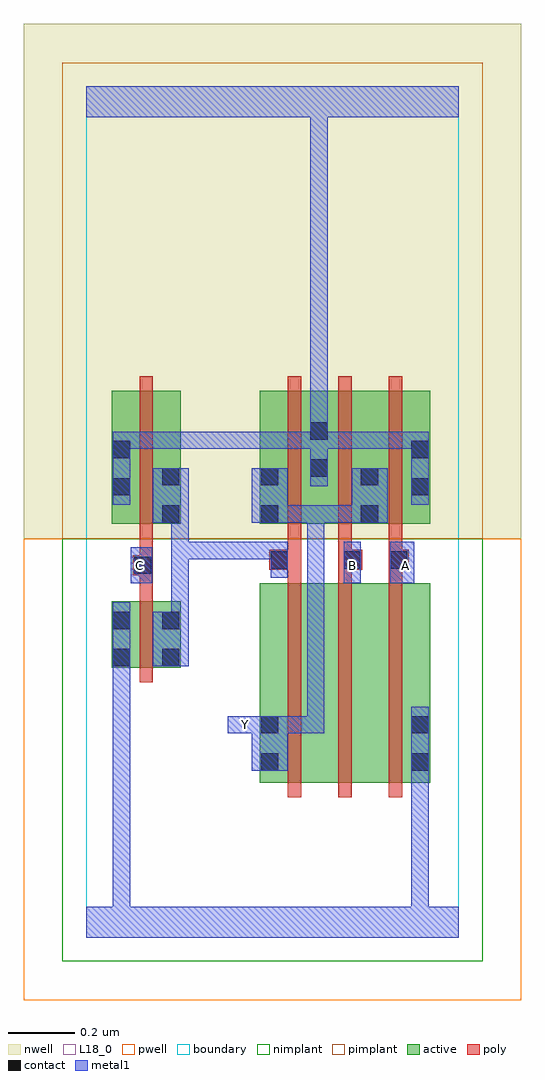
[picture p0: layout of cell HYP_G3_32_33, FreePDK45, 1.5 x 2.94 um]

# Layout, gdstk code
import gdstk
lib = gdstk.Library(unit=1e-6, precision=1e-09)
def R(c, l, rs):  # rectangles x0, y0, x1, y1
    for r in rs: c.add(gdstk.rectangle(r[:2], r[2:], *l))
def A(c, l, x, y, w, h, nx, ny, dx, dy):  # array of equal rectangles
    R(c, l, [(x+i*dx, y+j*dy, x+i*dx+w, y+j*dy+h) for i in range(nx) for j in range(ny)])
active = (1, 0)
pwell = (2, 0)
nwell = (3, 0)
nimplant = (4, 0)
pimplant = (5, 0)
poly = (9, 0)
contact = (10, 0)
metal1 = (11, 0)
L18_0 = (18, 0)
boundary = (235, 0)

hyp_g3_32_33 = lib.new_cell('HYP_G3_32_33')
A(hyp_g3_32_33, active, 0.67, 1.244, 0.06, 0.4, 3, 1, 0.152, 0)
R(hyp_g3_32_33, active, [(0.522,0.466,0.582,1.066), (0.522,0.466,0.702,1.066), (0.702,0.466,0.854,1.066), (0.854,0.466,1.034,1.066), (0.974,0.466,1.034,1.066), (0.076,0.812,0.136,1.012), (0.076,0.812,0.284,1.012), (0.224,0.812,0.284,1.012), (0.076,1.244,0.136,1.644), (0.076,1.244,0.284,1.644), (0.224,1.244,0.284,1.644), (0.522,1.244,0.582,1.644), (0.522,1.244,0.73,1.644), (0.67,1.244,0.882,1.644), (0.822,1.244,1.034,1.644)])
R(hyp_g3_32_33, pwell, [(-0.188,-0.188,1.308,1.2)])
R(hyp_g3_32_33, nwell, [(-0.188,1.2,1.308,2.748)])
R(hyp_g3_32_33, nimplant, [(-0.072,-0.072,1.192,1.2)])
R(hyp_g3_32_33, pimplant, [(-0.072,1.2,1.192,2.632)])
A(hyp_g3_32_33, poly, 0.606, 0.422, 0.04, 0.688, 3, 1, 0.152, 0)
A(hyp_g3_32_33, poly, 0.606, 1.07, 0.04, 0.076, 3, 1, 0.152, 0)
A(hyp_g3_32_33, poly, 0.606, 1.126, 0.04, 0.114, 3, 1, 0.152, 0)
A(hyp_g3_32_33, poly, 0.606, 1.2, 0.04, 0.488, 3, 1, 0.152, 0)
R(hyp_g3_32_33, poly, [(0.16,0.768,0.2,1.056), (0.16,1.016,0.2,1.13), (0.14,1.09,0.2,1.15), (0.55,1.106,0.646,1.166), (0.606,1.106,0.646,1.146), (0.606,1.106,0.646,1.146), (0.758,1.106,0.83,1.166), (0.91,1.106,0.97,1.166), (0.16,1.11,0.2,1.15), (0.16,1.11,0.2,1.15), (0.16,1.11,0.2,1.24), (0.758,1.126,0.798,1.166), (0.758,1.126,0.798,1.166), (0.91,1.126,0.95,1.166), (0.91,1.126,0.95,1.166), (0.16,1.2,0.2,1.688)])
R(hyp_g3_32_33, contact, [(0.526,0.502,0.578,0.554), (0.978,0.502,1.03,0.554), (0.526,0.614,0.578,0.666), (0.978,0.614,1.03,0.666), (0.08,0.816,0.132,0.868), (0.228,0.816,0.28,0.868), (0.08,0.928,0.132,0.98), (0.228,0.928,0.28,0.98), (0.144,1.094,0.196,1.146), (0.554,1.11,0.606,1.162), (0.774,1.11,0.826,1.162), (0.914,1.11,0.966,1.162), (0.228,1.248,0.28,1.3), (0.526,1.248,0.578,1.3), (0.826,1.248,0.878,1.3), (0.08,1.33,0.132,1.382), (0.978,1.33,1.03,1.382), (0.228,1.36,0.28,1.412), (0.526,1.36,0.578,1.412), (0.826,1.36,0.878,1.412), (0.674,1.386,0.726,1.438), (0.08,1.442,0.132,1.494), (0.978,1.442,1.03,1.494), (0.674,1.498,0.726,1.55)])
R(hyp_g3_32_33, metal1, [(0,0,1.12,0.092), (0.08,0.04,0.132,0.092), (0.08,0.04,0.132,0.092), (0.08,0.04,0.132,0.84), (0.978,0.04,1.03,0.092), (0.978,0.04,1.03,0.092), (0.978,0.04,1.03,0.092), (0.978,0.04,1.03,0.092), (0.978,0.04,1.03,0.526), (0.978,0.474,1.03,0.526), (0.978,0.474,1.03,0.526), (0.978,0.474,1.03,0.526), (0.978,0.474,1.03,0.526), (0.978,0.474,1.03,0.694), (0.498,0.502,0.606,0.666), (0.426,0.614,0.55,0.666), (0.498,0.614,0.55,0.666), (0.498,0.614,0.55,0.666), (0.498,0.614,0.55,0.666), (0.498,0.614,0.716,0.666), (0.664,0.614,0.716,0.666), (0.664,0.614,0.716,0.666), (0.664,0.614,0.716,0.666), (0.664,0.614,0.716,1.3), (0.08,0.788,0.132,0.84), (0.08,0.788,0.132,0.84), (0.08,0.788,0.132,0.84), (0.08,0.788,0.132,0.84), (0.08,0.788,0.132,0.84), (0.08,0.788,0.132,0.84), (0.08,0.788,0.132,0.84), (0.08,0.788,0.132,0.84), (0.08,0.788,0.132,0.84), (0.08,0.788,0.132,0.84), (0.08,0.788,0.132,0.84), (0.08,0.788,0.132,0.84), (0.08,0.788,0.132,0.84), (0.08,0.788,0.132,0.84), (0.08,0.788,0.132,1.008), (0.2,0.816,0.308,0.98), (0.256,0.928,0.308,1.19), (0.134,1.066,0.198,1.174), (0.774,1.066,0.826,1.19), (0.914,1.066,0.986,1.19), (0.554,1.082,0.606,1.19), (0.256,1.138,0.308,1.19), (0.256,1.138,0.308,1.19), (0.256,1.138,0.308,1.19), (0.256,1.138,0.606,1.19), (0.256,1.138,0.308,1.3), (0.554,1.138,0.606,1.19), (0.554,1.138,0.606,1.19), (0.2,1.248,0.308,1.412), (0.498,1.248,0.606,1.412), (0.554,1.248,0.606,1.3), (0.554,1.248,0.606,1.3), (0.554,1.248,0.716,1.3), (0.664,1.248,0.716,1.3), (0.664,1.248,0.85,1.3), (0.798,1.248,0.85,1.3), (0.798,1.248,0.85,1.3), (0.798,1.248,0.906,1.412), (0.08,1.302,0.132,1.522), (0.978,1.302,1.03,1.522), (0.674,1.358,0.726,1.578), (0.08,1.47,0.242,1.522), (0.19,1.47,0.242,1.522), (0.19,1.47,0.242,1.522), (0.19,1.47,0.242,1.522), (0.19,1.47,0.418,1.522), (0.366,1.47,0.418,1.522), (0.366,1.47,0.418,1.522), (0.366,1.47,0.418,1.522), (0.366,1.47,0.726,1.522), (0.674,1.47,0.726,1.522), (0.674,1.47,0.726,1.522), (0.674,1.47,0.836,1.522), (0.784,1.47,0.836,1.522), (0.784,1.47,1.03,1.522), (0.978,1.47,1.03,1.522), (0.978,1.47,1.03,1.522), (0.674,1.526,0.726,1.578), (0.674,1.526,0.726,1.578), (0.674,1.526,0.726,1.578), (0.674,1.526,0.726,1.578), (0.674,1.526,0.726,1.578), (0.674,1.526,0.726,1.578), (0.674,1.526,0.726,1.578), (0.674,1.526,0.726,1.578), (0.674,1.526,0.726,1.578), (0.674,1.526,0.726,1.578), (0.674,1.526,0.726,1.578), (0.674,1.526,0.726,1.578), (0.674,1.526,0.726,1.578), (0.674,1.526,0.726,1.578), (0.674,1.526,0.726,1.578), (0.674,1.526,0.726,1.578), (0.674,1.526,0.726,2.52), (0,2.468,1.12,2.56)])
R(hyp_g3_32_33, L18_0, [(0,0,1.12,0.092), (0.08,0.04,0.132,0.092), (0.08,0.04,0.132,0.092), (0.08,0.04,0.132,0.84), (0.978,0.04,1.03,0.092), (0.978,0.04,1.03,0.092), (0.978,0.04,1.03,0.092), (0.978,0.04,1.03,0.092), (0.978,0.04,1.03,0.526), (0.978,0.474,1.03,0.526), (0.978,0.474,1.03,0.526), (0.978,0.474,1.03,0.526), (0.978,0.474,1.03,0.526), (0.978,0.474,1.03,0.694), (0.498,0.502,0.606,0.666), (0.426,0.614,0.55,0.666), (0.454,0.614,0.506,0.666), (0.498,0.614,0.55,0.666), (0.498,0.614,0.55,0.666), (0.498,0.614,0.55,0.666), (0.498,0.614,0.716,0.666), (0.664,0.614,0.716,0.666), (0.664,0.614,0.716,0.666), (0.664,0.614,0.716,0.666), (0.664,0.614,0.716,1.3), (0.08,0.788,0.132,0.84), (0.08,0.788,0.132,0.84), (0.08,0.788,0.132,0.84), (0.08,0.788,0.132,0.84), (0.08,0.788,0.132,0.84), (0.08,0.788,0.132,0.84), (0.08,0.788,0.132,0.84), (0.08,0.788,0.132,0.84), (0.08,0.788,0.132,0.84), (0.08,0.788,0.132,0.84), (0.08,0.788,0.132,0.84), (0.08,0.788,0.132,0.84), (0.08,0.788,0.132,0.84), (0.08,0.788,0.132,0.84), (0.08,0.788,0.132,1.008), (0.134,1.066,0.198,1.174), (0.774,1.066,0.826,1.19), (0.914,1.066,0.986,1.19), (0.134,1.094,0.186,1.146), (0.774,1.094,0.826,1.146), (0.934,1.094,0.986,1.146), (0.498,1.248,0.606,1.412), (0.554,1.248,0.606,1.3), (0.554,1.248,0.606,1.3), (0.554,1.248,0.716,1.3), (0.664,1.248,0.716,1.3), (0.664,1.248,0.85,1.3), (0.798,1.248,0.85,1.3), (0.798,1.248,0.85,1.3), (0.798,1.248,0.906,1.412), (0.08,1.302,0.132,1.522), (0.978,1.302,1.03,1.522), (0.674,1.358,0.726,1.578), (0.08,1.47,0.242,1.522), (0.19,1.47,0.242,1.522), (0.19,1.47,0.242,1.522), (0.19,1.47,0.242,1.522), (0.19,1.47,0.418,1.522), (0.366,1.47,0.418,1.522), (0.366,1.47,0.418,1.522), (0.366,1.47,0.418,1.522), (0.366,1.47,0.726,1.522), (0.674,1.47,0.726,1.522), (0.674,1.47,0.726,1.522), (0.674,1.47,0.836,1.522), (0.784,1.47,0.836,1.522), (0.784,1.47,1.03,1.522), (0.978,1.47,1.03,1.522), (0.978,1.47,1.03,1.522), (0.674,1.526,0.726,1.578), (0.674,1.526,0.726,1.578), (0.674,1.526,0.726,1.578), (0.674,1.526,0.726,1.578), (0.674,1.526,0.726,1.578), (0.674,1.526,0.726,1.578), (0.674,1.526,0.726,1.578), (0.674,1.526,0.726,1.578), (0.674,1.526,0.726,1.578), (0.674,1.526,0.726,1.578), (0.674,1.526,0.726,1.578), (0.674,1.526,0.726,1.578), (0.674,1.526,0.726,1.578), (0.674,1.526,0.726,1.578), (0.674,1.526,0.726,1.578), (0.674,1.526,0.726,1.578), (0.674,1.526,0.726,2.52), (0,2.468,1.12,2.56)])
R(hyp_g3_32_33, boundary, [(0,0,1.12,2.56)])
hyp_g3_32_33.add(gdstk.Label('A', (0.96,1.12), layer=11, texttype=0))
hyp_g3_32_33.add(gdstk.Label('B', (0.8,1.12), layer=11, texttype=0))
hyp_g3_32_33.add(gdstk.Label('C', (0.16,1.12), layer=11, texttype=0))
hyp_g3_32_33.add(gdstk.Label('Y', (0.48,0.64), layer=11, texttype=0))

lib.write_gds('HYP_G3_32_33.gds')
